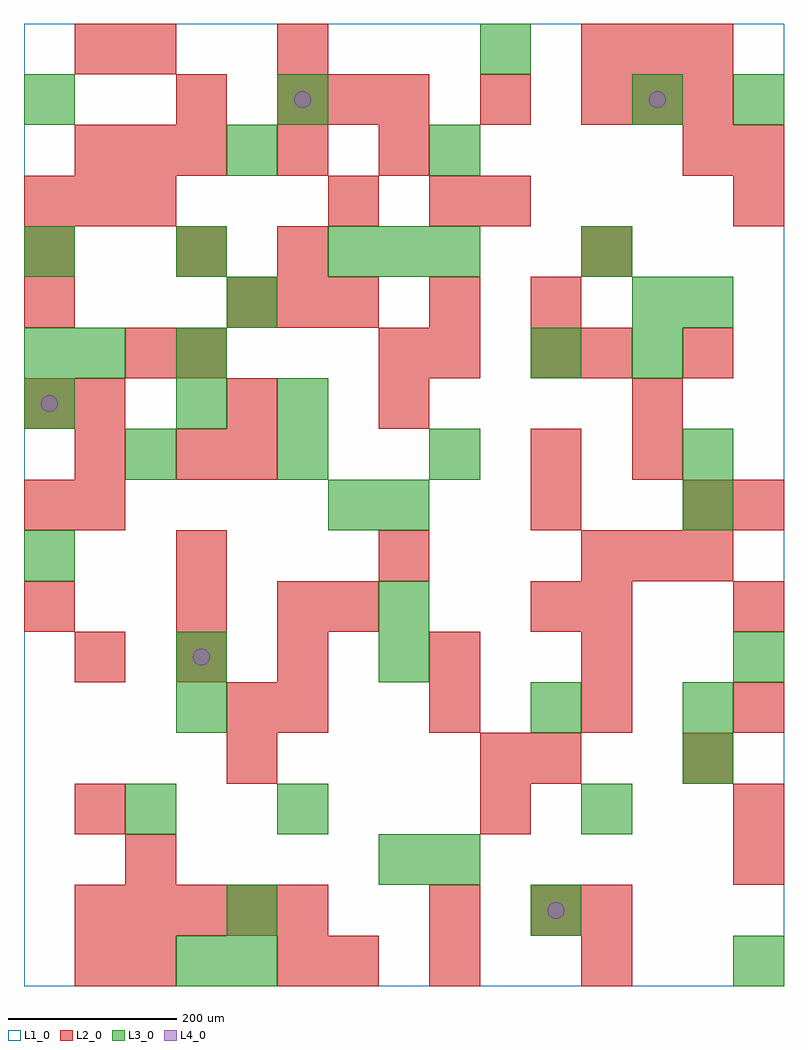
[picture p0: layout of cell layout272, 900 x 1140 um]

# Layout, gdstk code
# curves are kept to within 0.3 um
import gdstk
lib = gdstk.Library(unit=1e-6, precision=1e-09)
def R(c, l, rs):  # rectangles x0, y0, x1, y1
    for r in rs: c.add(gdstk.rectangle(r[:2], r[2:], *l))
def A(c, l, x, y, w, h, nx, ny, dx, dy):  # array of equal rectangles
    R(c, l, [(x+i*dx, y+j*dy, x+i*dx+w, y+j*dy+h) for i in range(nx) for j in range(ny)])
def P(c, l, *ps):  # polygons
    for p in ps: c.add(gdstk.Polygon(p, *l))
L1_0 = (1, 0)
L2_0 = (2, 0)
L3_0 = (3, 0)
L4_0 = (4, 0)

layout272 = lib.new_cell('layout272')
R(layout272, L1_0, [(0,0,900,1140)])
A(layout272, L2_0, 300, 0, 60, 60, 1, 3, 0, 420)
A(layout272, L2_0, 60, 60, 60, 60, 5, 1, 60, 0)
A(layout272, L2_0, 600, 60, 60, 60, 1, 3, 0, 180)
A(layout272, L2_0, 300, 300, 60, 60, 4, 1, 180, 0)
A(layout272, L2_0, 60, 360, 60, 60, 3, 1, 120, 0)
A(layout272, L2_0, 0, 420, 60, 60, 1, 4, 0, 120)
A(layout272, L2_0, 180, 480, 60, 60, 3, 1, 240, 0)
A(layout272, L2_0, 180, 600, 60, 60, 1, 3, 0, 120)
A(layout272, L2_0, 60, 660, 60, 60, 3, 1, 180, 0)
A(layout272, L2_0, 240, 780, 60, 60, 3, 1, 60, 0)
A(layout272, L2_0, 0, 900, 60, 60, 3, 1, 60, 0)
A(layout272, L2_0, 60, 960, 60, 60, 3, 1, 60, 0)
A(layout272, L2_0, 300, 1020, 60, 60, 3, 1, 60, 0)
A(layout272, L2_0, 660, 1020, 60, 60, 3, 2, 60, 60)
R(layout272, L2_0, [(60,0,120,60), (120,0,180,60), (360,0,420,60), (480,0,540,60), (660,0,720,60), (480,60,540,120), (660,60,720,120), (120,120,180,180), (840,120,900,180), (60,180,120,240), (540,180,600,240), (840,180,900,240), (240,240,300,300), (540,240,600,300), (780,240,840,300), (240,300,300,360), (480,360,540,420), (660,360,720,420), (180,420,240,480), (360,420,420,480), (660,420,720,480), (840,420,900,480), (720,480,780,540), (780,480,840,540), (60,540,120,600), (600,540,660,600), (780,540,840,600), (840,540,900,600), (60,600,120,660), (240,600,300,660), (600,600,660,660), (720,600,780,660), (720,660,780,720), (120,720,180,780), (420,720,480,780), (480,720,540,780), (600,720,660,780), (660,720,720,780), (780,720,840,780), (480,780,540,840), (600,780,660,840), (0,840,60,900), (660,840,720,900), (360,900,420,960), (480,900,540,960), (540,900,600,960), (840,900,900,960), (300,960,360,1020), (420,960,480,1020), (780,960,840,1020), (840,960,900,1020), (180,1020,240,1080), (540,1020,600,1080), (60,1080,120,1140), (120,1080,180,1140), (300,1080,360,1140)])
A(layout272, L3_0, 120, 600, 60, 60, 3, 1, 180, 0)
A(layout272, L3_0, 0, 840, 60, 60, 3, 1, 180, 0)
R(layout272, L3_0, [(180,0,240,60), (240,0,300,60), (840,0,900,60), (240,60,300,120), (600,60,660,120), (420,120,480,180), (480,120,540,180), (120,180,180,240), (300,180,360,240), (660,180,720,240), (780,240,840,300), (180,300,240,360), (600,300,660,360), (780,300,840,360), (180,360,240,420), (420,360,480,420), (840,360,900,420), (420,420,480,480), (0,480,60,540), (360,540,420,600), (420,540,480,600), (780,540,840,600), (780,600,840,660), (0,660,60,720), (180,660,240,720), (300,660,360,720), (0,720,60,780), (60,720,120,780), (180,720,240,780), (600,720,660,780), (720,720,780,780), (240,780,300,840), (720,780,780,840), (780,780,840,840), (420,840,480,900), (480,840,540,900), (660,840,720,900), (240,960,300,1020), (480,960,540,1020), (0,1020,60,1080), (300,1020,360,1080), (720,1020,780,1080), (840,1020,900,1080), (540,1080,600,1140)])
P(layout272, L4_0, [(40,690),(39.239,693.827),(37.071,697.071),(33.827,699.239),(30,700),(26.173,699.239),(22.929,697.071),(20.761,693.827),(20,690),(20.761,686.173),(22.929,682.929),(26.173,680.761),(30,680),(33.827,680.761),(37.071,682.929),(39.239,686.173)],
  [(220,390),(219.239,393.827),(217.071,397.071),(213.827,399.239),(210,400),(206.173,399.239),(202.929,397.071),(200.761,393.827),(200,390),(200.761,386.173),(202.929,382.929),(206.173,380.761),(210,380),(213.827,380.761),(217.071,382.929),(219.239,386.173)],
  [(340,1050),(339.239,1053.827),(337.071,1057.071),(333.827,1059.239),(330,1060),(326.173,1059.239),(322.929,1057.071),(320.761,1053.827),(320,1050),(320.761,1046.173),(322.929,1042.929),(326.173,1040.761),(330,1040),(333.827,1040.761),(337.071,1042.929),(339.239,1046.173)],
  [(640,90),(639.239,93.827),(637.071,97.071),(633.827,99.239),(630,100),(626.173,99.239),(622.929,97.071),(620.761,93.827),(620,90),(620.761,86.173),(622.929,82.929),(626.173,80.761),(630,80),(633.827,80.761),(637.071,82.929),(639.239,86.173)],
  [(760,1050),(759.239,1053.827),(757.071,1057.071),(753.827,1059.239),(750,1060),(746.173,1059.239),(742.929,1057.071),(740.761,1053.827),(740,1050),(740.761,1046.173),(742.929,1042.929),(746.173,1040.761),(750,1040),(753.827,1040.761),(757.071,1042.929),(759.239,1046.173)])

lib.write_gds('layout272.gds')
